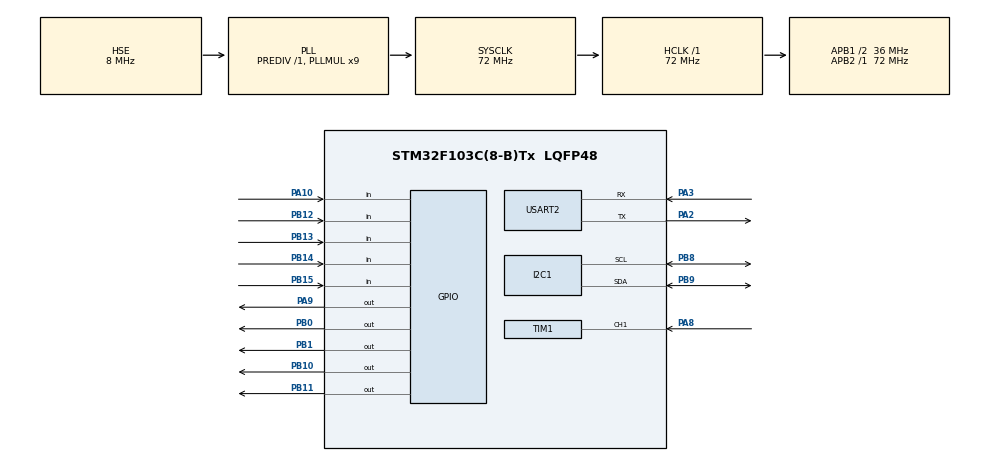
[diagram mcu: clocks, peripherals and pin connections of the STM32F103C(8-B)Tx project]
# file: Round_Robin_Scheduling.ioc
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FREERTOS.Tasks01=HCSR04_Task,0,128,HCSR04,Default,NULL,Dynamic,NULL,NULL;task_SoundSS,0,128,Soundss,Default,NULL,Dynamic,NULL,NULL;Keypad_Task,0,128,Keypad,Default,NULL,Dynamic,NULL,NULL;LCD_Task,0,128,LCD,Default,NULL,Dynamic,NULL,NULL;UART_Task,0,128,UART,Default,NULL,Dynamic,NULL,NULL
FREERTOS.configTOTAL_HEAP_SIZE=5000
Mcu.Family=STM32F1
Mcu.Name=STM32F103C(8-B)Tx
Mcu.Package=LQFP48
NVIC.PriorityGroup=NVIC_PRIORITYGROUP_4
NVIC.TIM1_CC_IRQn=true\:0\:0\:false\:false\:true\:false\:true\:true
NVIC.TIM1_UP_IRQn=true\:0\:0\:false\:false\:true\:false\:true\:true
NVIC.TIM4_IRQn=true\:0\:0\:false\:false\:true\:false\:false\:true
NVIC.TimeBase=TIM4_IRQn
NVIC.TimeBaseIP=TIM4
NVIC.USART2_IRQn=true\:0\:0\:false\:false\:true\:false\:true\:true
PA10.GPIO_PuPd=GPIO_PULLUP
PA10.Signal=GPIO_Input
PA13.Mode=Serial_Wire
PA13.Signal=SYS_JTMS-SWDIO
PA14.Mode=Serial_Wire
PA14.Signal=SYS_JTCK-SWCLK
PA2.Mode=Asynchronous
PA2.Signal=USART2_TX
PA3.Mode=Asynchronous
PA3.Signal=USART2_RX
PA8.Signal=S_TIM1_CH1
PA9.Signal=GPIO_Output
PB0.Signal=GPIO_Output
PB1.Signal=GPIO_Output
PB10.Signal=GPIO_Output
PB11.Signal=GPIO_Output
PB12.GPIO_PuPd=GPIO_PULLUP
PB12.Signal=GPIO_Input
PB13.GPIO_PuPd=GPIO_PULLUP
PB13.Signal=GPIO_Input
PB14.GPIO_PuPd=GPIO_PULLUP
PB14.Signal=GPIO_Input
PB15.GPIO_PuPd=GPIO_PULLUP
PB15.Signal=GPIO_Input
PB8.Mode=I2C
PB8.Signal=I2C1_SCL
PB9.Mode=I2C
PB9.Signal=I2C1_SDA
PD0-OSC_IN.Mode=HSE-External-Oscillator
PD0-OSC_IN.Signal=RCC_OSC_IN
PD1-OSC_OUT.Mode=HSE-External-Oscillator
PD1-OSC_OUT.Signal=RCC_OSC_OUT
ProjectManager.HeapSize=0x200
ProjectManager.StackSize=0x400
ProjectManager.TargetToolchain=MDK-ARM V5.27
RCC.AHBFreq_Value=72000000
RCC.APB1CLKDivider=RCC_HCLK_DIV2
RCC.APB1Freq_Value=36000000
RCC.APB1TimFreq_Value=72000000
RCC.APB2Freq_Value=72000000
RCC.APB2TimFreq_Value=72000000
RCC.HCLKFreq_Value=72000000
RCC.PLLMUL=RCC_PLL_MUL9
RCC.PLLSourceVirtual=RCC_PLLSOURCE_HSE
RCC.SYSCLKFreq_VALUE=72000000
RCC.SYSCLKSource=RCC_SYSCLKSOURCE_PLLCLK
RCC.USBFreq_Value=72000000
SH.S_TIM1_CH1.0=TIM1_CH1,Input_Capture1_from_TI1
TIM1.Channel-Input_Capture1_from_TI1=TIM_CHANNEL_1
TIM1.Prescaler=71
USART2.VirtualMode=VM_ASYNC
VP_FREERTOS_VS_CMSIS_V1.Mode=CMSIS_V1
VP_SYS_VS_tim4.Mode=TIM4
VP_TIM1_VS_ClockSourceINT.Mode=Internal
board=custom

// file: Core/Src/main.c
/* USER CODE BEGIN Header */
/**
  ******************************************************************************
  * @file           : main.c
  * @brief          : Main program body
  ******************************************************************************
  * @attention
  *
  * <h2><center>&copy; Copyright (c) 2025 STMicroelectronics.
  * All rights reserved.</center></h2>
  *
  * This software component is licensed by ST under BSD 3-Clause license,
  * the "License"; You may not use this file except in compliance with the
  * License. You may obtain a copy of the License at:
  *                        opensource.org/licenses/BSD-3-Clause
  *
  ******************************************************************************
  */
/* USER CODE END Header */
#include "main.h"
#include "cmsis_os.h"

/* USER CODE BEGIN Includes */
#include "stdio.h"
#include "sr04.h"
#include "FreeRTOS.h"
#include "task.h"
#include "queue.h"
#include "semphr.h"
#include "lcd_i2cModule.h"
#include "keypad_4x4.h"
#include "string.h"
#include "uart.h"
/* USER CODE END Includes */

/* USER CODE BEGIN PD */
#define HCSR04_PERIOD_MS 50
#define SOUNDSS_PERIOD_MS 50
#define KEYBOARD_PERIOD_MS 500
#define LCD_PERIOD_MS 250
#define UART_PERIOD_MS 50

#define HCSR04_DEADLINE_MS 50
#define SOUNDSS_DEADLINE_MS 50
#define KEYBOARD_DEADLINE_MS 100
#define LCD_DEADLINE_MS 250
#define UART_DEADLINE_MS 50

#define HCSR04_EXCUTION_MS 3
#define SOUNDSS_EXCUTION_MS 1
#define KEYBOARD_EXCUTION_MS 3
#define LCD_EXCUTION_MS 10
#define UART_EXCUTION_MS 5
/* USER CODE END PD */

/* USER CODE BEGIN PM */
/* Define constants */
#define TIME_QUANTUM_MS 10 // Th?i gian quantum cho m?i task (ms)
#define TASK_COUNT 5       // S? lu?ng task

/* Global variables */
uint32_t currentTask = 0; // Task hi?n t?i trong vтng l?p round robin
uint32_t taskStartTime = 0;

uint32_t a = 0;
uint32_t b = 0;
uint32_t c = 0;
uint32_t d = 0;
uint32_t e = 0;
/* USER CODE END PM */

I2C_HandleTypeDef hi2c1;

TIM_HandleTypeDef htim1;

UART_HandleTypeDef huart2;

osThreadId HCSR04_TaskHandle;
osThreadId task_SoundSSHandle;
osThreadId Keypad_TaskHandle;
osThreadId LCD_TaskHandle;
osThreadId UART_TaskHandle;
/* USER CODE BEGIN PV */
sr04_t sr04;

float khoang_cach = 0;

uint8_t sound = 0;
uint8_t check = 0;

QueueHandle_t QueueHCSR04Handle; // khoi tao mot Queue (tuong tu de khoi tao mot task thi ta co lenh: TaskHandle_t)
QueueHandle_t QueueSoundSSHandle;
QueueHandle_t QueueKeyboardHandle;
QueueHandle_t QueueUARTHandle;

/* USER CODE END PV */

void SystemClock_Config(void);
static void MX_GPIO_Init(void);
static void MX_I2C1_Init(void);
static void MX_TIM1_Init(void);
static void MX_USART2_UART_Init(void);
void HCSR04(void const * argument);
void Soundss(void const * argument);
void Keypad(void const * argument);
void LCD(void const * argument);
void UART(void const * argument);

int main(void)
{

  /* MCU Configuration--------------------------------------------------------*/

  /* Reset of all peripherals, Initializes the Flash interface and the Systick. */
  HAL_Init();

  /* Configure the system clock */
  SystemClock_Config();

  /* Initialize all configured peripherals */
  MX_GPIO_Init();
  MX_I2C1_Init();
  MX_TIM1_Init();
  MX_USART2_UART_Init();
  /* USER CODE BEGIN 2 */

	//Init HCSR04
  sr04.trig_port = GPIOA;
  sr04.trig_pin = GPIO_PIN_9;
  sr04.echo_htim = &htim1;
  sr04.echo_channel = TIM_CHANNEL_1;
  sr04_init(&sr04);

	  //Init lcd
		LCD_i2cDeviceCheck();
		LCD_Init();
		LCD_BackLight(LCD_BL_ON);

		// Init Keypad
		keypad_init();
  /* USER CODE END 2 */

  /* USER CODE BEGIN RTOS_QUEUES */
  /* add queues, ... */
		QueueHCSR04Handle = xQueueCreate(10, sizeof(uint32_t)*10); // tao mot queue moi
	QueueSoundSSHandle = xQueueCreate(10, sizeof(char) * 10);
	QueueKeyboardHandle = xQueueCreate(10, sizeof(char) * 10);
	QueueUARTHandle = xQueueCreate(10, sizeof(uint32_t) * 10);
  /* USER CODE END RTOS_QUEUES */

  /* Create the thread(s) */
  /* definition and creation of HCSR04_Task */
  osThreadDef(HCSR04_Task, HCSR04, osPriorityNormal, 0, 128);
  HCSR04_TaskHandle = osThreadCreate(osThread(HCSR04_Task), NULL);

  /* definition and creation of task_SoundSS */
  osThreadDef(task_SoundSS, Soundss, osPriorityNormal, 0, 128);
  task_SoundSSHandle = osThreadCreate(osThread(task_SoundSS), NULL);

  /* definition and creation of Keypad_Task */
  osThreadDef(Keypad_Task, Keypad, osPriorityNormal, 0, 128);
  Keypad_TaskHandle = osThreadCreate(osThread(Keypad_Task), NULL);

  /* definition and creation of LCD_Task */
  osThreadDef(LCD_Task, LCD, osPriorityNormal, 0, 128);
  LCD_TaskHandle = osThreadCreate(osThread(LCD_Task), NULL);

  /* definition and creation of UART_Task */
  osThreadDef(UART_Task, UART, osPriorityNormal, 0, 128);
  UART_TaskHandle = osThreadCreate(osThread(UART_Task), NULL);

  /* Start scheduler */
  osKernelStart();

  /* We should never get here as control is now taken by the scheduler */
  /* Infinite loop */
  while (1)
  {

  }
}

void SystemClock_Config(void)
{
  RCC_OscInitTypeDef RCC_OscInitStruct = {0};
  RCC_ClkInitTypeDef RCC_ClkInitStruct = {0};

  /** Initializes the RCC Oscillators according to the specified parameters
  * in the RCC_OscInitTypeDef structure.
  */
  RCC_OscInitStruct.OscillatorType = RCC_OSCILLATORTYPE_HSE;
  RCC_OscInitStruct.HSEState = RCC_HSE_ON;
  RCC_OscInitStruct.HSEPredivValue = RCC_HSE_PREDIV_DIV1;
  RCC_OscInitStruct.HSIState = RCC_HSI_ON;
  RCC_OscInitStruct.PLL.PLLState = RCC_PLL_ON;
  RCC_OscInitStruct.PLL.PLLSource = RCC_PLLSOURCE_HSE;
  RCC_OscInitStruct.PLL.PLLMUL = RCC_PLL_MUL9;
  if (HAL_RCC_OscConfig(&RCC_OscInitStruct) != HAL_OK)
  {
    Error_Handler();
  }
  /** Initializes the CPU, AHB and APB buses clocks
  */
  RCC_ClkInitStruct.ClockType = RCC_CLOCKTYPE_HCLK|RCC_CLOCKTYPE_SYSCLK
                              |RCC_CLOCKTYPE_PCLK1|RCC_CLOCKTYPE_PCLK2;
  RCC_ClkInitStruct.SYSCLKSource = RCC_SYSCLKSOURCE_PLLCLK;
  RCC_ClkInitStruct.AHBCLKDivider = RCC_SYSCLK_DIV1;
  RCC_ClkInitStruct.APB1CLKDivider = RCC_HCLK_DIV2;
  RCC_ClkInitStruct.APB2CLKDivider = RCC_HCLK_DIV1;

  if (HAL_RCC_ClockConfig(&RCC_ClkInitStruct, FLASH_LATENCY_2) != HAL_OK)
  {
    Error_Handler();
  }
}

static void MX_I2C1_Init(void)
{

  hi2c1.Instance = I2C1;
  hi2c1.Init.ClockSpeed = 100000;
  hi2c1.Init.DutyCycle = I2C_DUTYCYCLE_2;
  hi2c1.Init.OwnAddress1 = 0;
  hi2c1.Init.AddressingMode = I2C_ADDRESSINGMODE_7BIT;
  hi2c1.Init.DualAddressMode = I2C_DUALADDRESS_DISABLE;
  hi2c1.Init.OwnAddress2 = 0;
  hi2c1.Init.GeneralCallMode = I2C_GENERALCALL_DISABLE;
  hi2c1.Init.NoStretchMode = I2C_NOSTRETCH_DISABLE;
  if (HAL_I2C_Init(&hi2c1) != HAL_OK)
  {
    Error_Handler();
  }

}

static void MX_TIM1_Init(void)
{

  TIM_ClockConfigTypeDef sClockSourceConfig = {0};
  TIM_MasterConfigTypeDef sMasterConfig = {0};
  TIM_IC_InitTypeDef sConfigIC = {0};

  htim1.Instance = TIM1;
  htim1.Init.Prescaler = 71;
  htim1.Init.CounterMode = TIM_COUNTERMODE_UP;
  htim1.Init.Period = 65535;
  htim1.Init.ClockDivision = TIM_CLOCKDIVISION_DIV1;
  htim1.Init.RepetitionCounter = 0;
  htim1.Init.AutoReloadPreload = TIM_AUTORELOAD_PRELOAD_DISABLE;
  if (HAL_TIM_Base_Init(&htim1) != HAL_OK)
  {
    Error_Handler();
  }
  sClockSourceConfig.ClockSource = TIM_CLOCKSOURCE_INTERNAL;
  if (HAL_TIM_ConfigClockSource(&htim1, &sClockSourceConfig) != HAL_OK)
  {
    Error_Handler();
  }
  if (HAL_TIM_IC_Init(&htim1) != HAL_OK)
  {
    Error_Handler();
  }
  sMasterConfig.MasterOutputTrigger = TIM_TRGO_RESET;
  sMasterConfig.MasterSlaveMode = TIM_MASTERSLAVEMODE_DISABLE;
  if (HAL_TIMEx_MasterConfigSynchronization(&htim1, &sMasterConfig) != HAL_OK)
  {
    Error_Handler();
  }
  sConfigIC.ICPolarity = TIM_INPUTCHANNELPOLARITY_RISING;
  sConfigIC.ICSelection = TIM_ICSELECTION_DIRECTTI;
  sConfigIC.ICPrescaler = TIM_ICPSC_DIV1;
  sConfigIC.ICFilter = 0;
  if (HAL_TIM_IC_ConfigChannel(&htim1, &sConfigIC, TIM_CHANNEL_1) != HAL_OK)
  {
    Error_Handler();
  }

}

static void MX_USART2_UART_Init(void)
{

  huart2.Instance = USART2;
  huart2.Init.BaudRate = 115200;
  huart2.Init.WordLength = UART_WORDLENGTH_8B;
  huart2.Init.StopBits = UART_STOPBITS_1;
  huart2.Init.Parity = UART_PARITY_NONE;
  huart2.Init.Mode = UART_MODE_TX_RX;
  huart2.Init.HwFlowCtl = UART_HWCONTROL_NONE;
  huart2.Init.OverSampling = UART_OVERSAMPLING_16;
  if (HAL_UART_Init(&huart2) != HAL_OK)
  {
    Error_Handler();
  }

}

static void MX_GPIO_Init(void)
{
  GPIO_InitTypeDef GPIO_InitStruct = {0};

  /* GPIO Ports Clock Enable */
  __HAL_RCC_GPIOD_CLK_ENABLE();
  __HAL_RCC_GPIOA_CLK_ENABLE();
  __HAL_RCC_GPIOB_CLK_ENABLE();

  /*Configure GPIO pin Output Level */
  HAL_GPIO_WritePin(GPIOB, GPIO_PIN_0|GPIO_PIN_1|GPIO_PIN_10|GPIO_PIN_11, GPIO_PIN_RESET);

  /*Configure GPIO pin Output Level */
  HAL_GPIO_WritePin(GPIOA, GPIO_PIN_9, GPIO_PIN_RESET);

  /*Configure GPIO pins : PB0 PB1 PB10 PB11 */
  GPIO_InitStruct.Pin = GPIO_PIN_0|GPIO_PIN_1|GPIO_PIN_10|GPIO_PIN_11;
  GPIO_InitStruct.Mode = GPIO_MODE_OUTPUT_PP;
  GPIO_InitStruct.Pull = GPIO_NOPULL;
  GPIO_InitStruct.Speed = GPIO_SPEED_FREQ_LOW;
  HAL_GPIO_Init(GPIOB, &GPIO_InitStruct);

  /*Configure GPIO pins : PB12 PB13 PB14 PB15 */
  GPIO_InitStruct.Pin = GPIO_PIN_12|GPIO_PIN_13|GPIO_PIN_14|GPIO_PIN_15;
  GPIO_InitStruct.Mode = GPIO_MODE_INPUT;
  GPIO_InitStruct.Pull = GPIO_PULLUP;
  HAL_GPIO_Init(GPIOB, &GPIO_InitStruct);

  /*Configure GPIO pin : PA9 */
  GPIO_InitStruct.Pin = GPIO_PIN_9;
  GPIO_InitStruct.Mode = GPIO_MODE_OUTPUT_PP;
  GPIO_InitStruct.Pull = GPIO_NOPULL;
  GPIO_InitStruct.Speed = GPIO_SPEED_FREQ_LOW;
  HAL_GPIO_Init(GPIOA, &GPIO_InitStruct);

  /*Configure GPIO pin : PA10 */
  GPIO_InitStruct.Pin = GPIO_PIN_10;
  GPIO_InitStruct.Mode = GPIO_MODE_INPUT;
  GPIO_InitStruct.Pull = GPIO_PULLUP;
  HAL_GPIO_Init(GPIOA, &GPIO_InitStruct);

}

void HCSR04(void const * argument)
{
  /* USER CODE BEGIN 5 */
	char message[50];
  /* Infinite loop */
  for(;;)
  {
		a++;
    sr04_trigger(&sr04);
    khoang_cach = sr04.distance;
		snprintf(message, 50, "Distance: %.1fmm", khoang_cach);
		xQueueSend(QueueHCSR04Handle, &message, 100);
		xQueueSend(QueueUARTHandle, &message, 100);
    osDelay(pdMS_TO_TICKS(50));
  }
  /* USER CODE END 5 */
}

void Soundss(void const * argument)
{
  /* USER CODE BEGIN Soundss */
	char message[10];
  /* Infinite loop */
  for(;;)
  {
		b++;
    if(HAL_GPIO_ReadPin(GPIOA, GPIO_PIN_10) == 0){
			// co am thanh
		xQueueSend(QueueSoundSSHandle, &message, 100);
			xQueueSend(QueueUARTHandle, &message, 100);
			strcpy(message, "YES ");

		}
		else {
			// khong co am thanh
			strcpy(message, "NO  ");
			xQueueSend(QueueSoundSSHandle, &message, 100);
			xQueueSend(QueueUARTHandle, &message, 100);
		}
    osDelay(pdMS_TO_TICKS(SOUNDSS_PERIOD_MS));
  }
  /* USER CODE END Soundss */
}

void Keypad(void const * argument)
{
  /* USER CODE BEGIN Keypad */
	char key_val;
	char buffer[20];
  /* Infinite loop */
  for(;;)
  {
		c++;
    // Xu ly task doc Keyboard
		key_val = keypad_get_key_value();
		sprintf(buffer, "Ky tu: %c", key_val);
		xQueueSend(QueueKeyboardHandle, &buffer, 100);
		xQueueSend(QueueUARTHandle, &buffer, 100);
    osDelay(pdMS_TO_TICKS(KEYBOARD_PERIOD_MS));
  }
  /* USER CODE END Keypad */
}

void LCD(void const * argument)
{
  /* USER CODE BEGIN LCD */
  /* Infinite loop */
  for(;;)
  {
		d++;
    char buf[50];
		char buf1[10] = "    ";
		char buf2[10];
		// Xu ly task hien thi LCD
		xQueueReceive(QueueHCSR04Handle, buf, portMAX_DELAY);
		xQueueReceive(QueueSoundSSHandle, buf1, portMAX_DELAY);
		xQueueReceive(QueueKeyboardHandle, buf2, portMAX_DELAY);
		LCD_SetCursor(1, 1);
		LCD_Send_String(buf, STR_NOSLIDE);
		LCD_SetCursor(2, 1);
		LCD_Send_String(buf1, STR_NOSLIDE);
		LCD_SetCursor(2, 7);
		LCD_Send_String(buf2, STR_NOSLIDE);

    osDelay(pdMS_TO_TICKS(LCD_PERIOD_MS));
  }
  /* USER CODE END LCD */
}

void UART(void const * argument)
{
  /* USER CODE BEGIN UART */
	char uart_buf[100];
  /* Infinite loop */
  for(;;)
  {
		e++;
    // Xu ly task truyen thong tin len may tinh su dung USB to TTL CP2102
		 if (xQueueReceive(QueueUARTHandle, uart_buf, portMAX_DELAY) == pdPASS)
        {
					strcat(uart_buf, "\n");
            HAL_UART_Transmit(&huart2, (uint8_t *)uart_buf, strlen(uart_buf), HAL_MAX_DELAY);
        }
    osDelay(pdMS_TO_TICKS(UART_PERIOD_MS));
  }
  /* USER CODE END UART */
}

void HAL_TIM_PeriodElapsedCallback(TIM_HandleTypeDef *htim)
{
  if (htim->Instance == TIM4) {
    HAL_IncTick();
  }
}

void Error_Handler(void)
{
}

/************************ (C) COPYRIGHT STMicroelectronics *****END OF FILE****/
